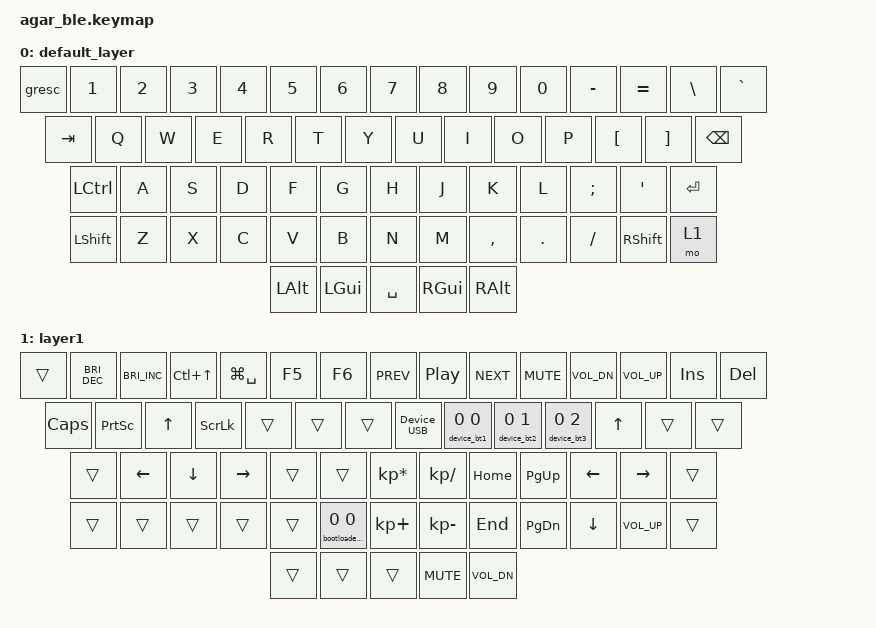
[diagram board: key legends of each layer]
#include "common.keymap"

/ {
    keymap {
        compatible = "zmk,keymap";
        
        default_layer {

            bindings = <
    &gresc  &kp N1 &kp N2 &kp N3 &kp N4 &kp N5 &kp N6 &kp N7 &kp N8 &kp N9 &kp N0 &kp MINUS &kp EQUAL &kp BSLH &kp GRAVE
    &kp TAB    &kp Q  &kp W  &kp E  &kp R  &kp T  &kp Y  &kp U  &kp I  &kp O  &kp P  &kp LBKT  &kp RBKT  &kp BSPC
    &kp LCTRL    &kp A  &kp S  &kp D  &kp F  &kp G  &kp H  &kp J  &kp K  &kp L  &kp SEMI &kp SQT        &kp RET
    &kp LSHFT  &kp Z  &kp X  &kp C  &kp V  &kp B  &kp N  &kp M  &kp COMMA &kp DOT &kp FSLH      &kp RSHIFT  &mo 1
            &kp LALT  &kp LGUI             &kp SPACE                       &kp RGUI  &kp RALT
            >;
        };

        layer1 {
            bindings = <
    &trans       &kp C_BRI_DEC  &kp C_BRI_INC  &kp LC(UP)  &kp LG(SPACE)  &kp F5  &kp F6  &kp C_PREV  &kp C_PP  &kp C_NEXT  &kp C_MUTE  &kp C_VOL_DN  &kp C_VOL_UP  &kp INSERT  &kp DELETE
    &kp CAPSLOCK &kp PRINTSCREEN    &kp UP  &kp SCROLLLOCK  &trans   &trans  &trans  &Device_USB  &device_bt1 0 0  &device_bt2 0 1  &device_bt3 0 2  &kp UP_ARROW  &trans          &trans 
    &trans       &kp LEFT  &kp DOWN  &kp RIGHT &trans  &trans  &kp KP_MULTIPLY  &kp KP_DIVIDE  &kp HOME   &kp PAGE_UP   &kp LEFT_ARROW   &kp RIGHT_ARROW        &trans 
    &trans         &trans    &trans    &trans   &trans &bootloader_reset 0 0  &kp KP_PLUS  &kp KP_MINUS  &kp END   &kp PAGE_DOWN   &kp DOWN_ARROW   &kp C_VOL_UP  &trans
         &trans   &trans                                    &trans                                        &kp C_MUTE    &kp C_VOL_DN
            >;
        };
        layer2 { status = "reserved"; };
        layer3 { status = "reserved"; };
        layer4 { status = "reserved"; };
        layer5 { status = "reserved"; };
        layer6 { status = "reserved"; };
        layer7 { status = "reserved"; };
    };
};
